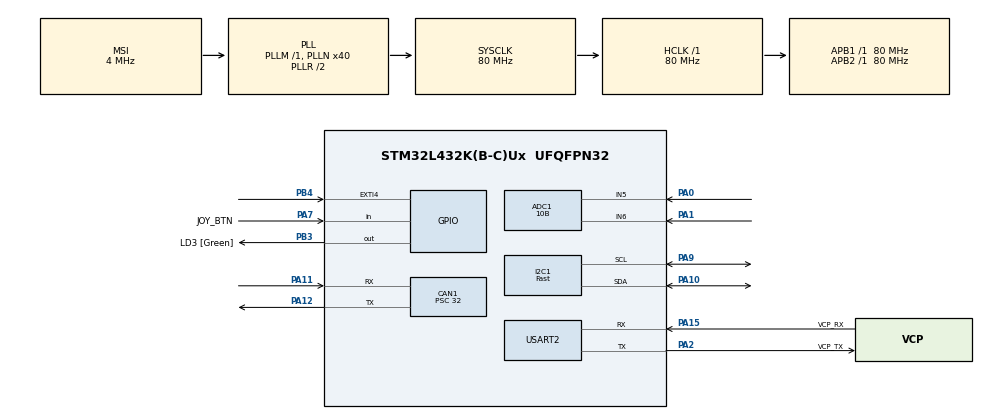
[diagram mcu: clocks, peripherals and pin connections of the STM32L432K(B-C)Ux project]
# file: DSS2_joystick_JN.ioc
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ADC1.ClockPrescaler=ADC_CLOCK_ASYNC_DIV8
ADC1.DiscontinuousConvMode=ENABLE
ADC1.EOCSelection=ADC_EOC_SEQ_CONV
ADC1.EnableInjectedConversion=ENABLE
ADC1.EnableRegularConversion=DISABLE
ADC1.InjMonitoredBy-2\#ChannelInjectedConversion=__NULL
ADC1.InjMonitoredBy-3\#ChannelInjectedConversion=__NULL
ADC1.InjNumberOfConversion=2
ADC1.InjectedChannel-2\#ChannelInjectedConversion=ADC_CHANNEL_5
ADC1.InjectedChannel-3\#ChannelInjectedConversion=ADC_CHANNEL_6
ADC1.InjectedOffsetNumber-2\#ChannelInjectedConversion=ADC_OFFSET_NONE
ADC1.InjectedOffsetNumber-3\#ChannelInjectedConversion=ADC_OFFSET_NONE
ADC1.InjectedRank-2\#ChannelInjectedConversion=1
ADC1.InjectedRank-3\#ChannelInjectedConversion=2
ADC1.InjectedSamplingTime-2\#ChannelInjectedConversion=ADC_SAMPLETIME_12CYCLES_5
ADC1.InjectedSamplingTime-3\#ChannelInjectedConversion=ADC_SAMPLETIME_12CYCLES_5
ADC1.Rank1_Channel=ADC_CHANNEL_5
ADC1.Rank2_Channel=ADC_CHANNEL_6
ADC1.Resolution=ADC_RESOLUTION_10B
ADC1.master=1
CAN1.BS1=CAN_BS1_4TQ
CAN1.BS2=CAN_BS2_5TQ
CAN1.CalculateBaudRate=250000
CAN1.CalculateTimeBit=4000
CAN1.CalculateTimeQuantum=400.0
CAN1.Prescaler=32
I2C1.I2C_Fall_Time=0
I2C1.I2C_Rise_Time=0
I2C1.I2C_Speed_Mode=I2C_Fast
I2C1.Timing=0x00702991
Mcu.Family=STM32L4
Mcu.Name=STM32L432K(B-C)Ux
Mcu.Package=UFQFPN32
NVIC.ADC1_IRQn=true\:3\:0\:true\:false\:true\:true\:true\:true
NVIC.CAN1_RX0_IRQn=true\:0\:0\:false\:false\:true\:true\:true\:true
NVIC.CAN1_TX_IRQn=true\:0\:0\:false\:false\:true\:true\:true\:true
NVIC.PriorityGroup=NVIC_PRIORITYGROUP_4
NVIC.TIM2_IRQn=true\:0\:0\:false\:false\:true\:true\:true\:true
PA0.Signal=ADCx_IN5
PA1.Signal=ADCx_IN6
PA10.Mode=I2C
PA10.Signal=I2C1_SDA
PA11.Mode=CAN_Activate
PA11.Signal=CAN1_RX
PA12.Mode=CAN_Activate
PA12.Signal=CAN1_TX
PA13\ (JTMS-SWDIO).GPIO_Label=SWDIO
PA13\ (JTMS-SWDIO).Mode=Serial_Wire
PA13\ (JTMS-SWDIO).Signal=SYS_JTMS-SWDIO
PA14\ (JTCK-SWCLK).GPIO_Label=SWCLK
PA14\ (JTCK-SWCLK).Mode=Serial_Wire
PA14\ (JTCK-SWCLK).Signal=SYS_JTCK-SWCLK
PA15\ (JTDI).GPIO_Label=VCP_RX
PA15\ (JTDI).Mode=Asynchronous
PA15\ (JTDI).Signal=USART2_RX
PA2.GPIO_Label=VCP_TX
PA2.Mode=Asynchronous
PA2.Signal=USART2_TX
PA7.GPIO_Label=JOY_BTN
PA7.GPIO_PuPd=GPIO_PULLDOWN
PA7.Signal=GPIO_Input
PA9.Mode=I2C
PA9.Signal=I2C1_SCL
PB3\ (JTDO-TRACESWO).GPIO_Label=LD3 [Green]
PB3\ (JTDO-TRACESWO).Signal=GPIO_Output
PB4\ (NJTRST).Signal=GPXTI4
PC14-OSC32_IN\ (PC14).Mode=LSE-External-Oscillator
PC14-OSC32_IN\ (PC14).Signal=RCC_OSC32_IN
PC15-OSC32_OUT\ (PC15).Mode=LSE-External-Oscillator
PC15-OSC32_OUT\ (PC15).Signal=RCC_OSC32_OUT
ProjectManager.HeapSize=0x200
ProjectManager.StackSize=0x400
ProjectManager.TargetToolchain=STM32CubeIDE
RCC.ADCFreq_Value=32000000
RCC.AHBFreq_Value=80000000
RCC.APB1Freq_Value=80000000
RCC.APB1TimFreq_Value=80000000
RCC.APB2Freq_Value=80000000
RCC.APB2TimFreq_Value=80000000
RCC.CortexFreq_Value=80000000
RCC.HCLKFreq_Value=80000000
RCC.HSE_VALUE=8000000
RCC.HSI16_VALUE=16000000
RCC.HSI48_VALUE=48000000
RCC.HSI_VALUE=16000000
RCC.MSI_VALUE=4000000
RCC.PLLMUL=RCC_PLLMUL_4
RCC.PLLN=40
RCC.PLLSAI1N=16
RCC.SYSCLKFreq_VALUE=80000000
RCC.SYSCLKSource=RCC_SYSCLKSOURCE_PLLCLK
RCC.USBFreq_Value=32000000
RCC.VCOOutputFreq_Value=160000000
SH.ADCx_IN5.0=ADC1_IN5,IN5-Single-Ended
SH.ADCx_IN6.0=ADC1_IN6,IN6-Single-Ended
TIM2.Period=999
TIM2.Prescaler=79
USART2.VirtualMode-Asynchronous=VM_ASYNC
VP_TIM2_VS_ClockSourceINT.Mode=Internal
board=NUCLEO-L432KC

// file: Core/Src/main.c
/* USER CODE BEGIN Header */
/**
  ******************************************************************************
  * @file           : main.c
  * @brief          : Main program body
  ******************************************************************************
  * @attention
  *
  * Copyright (c) 2026 STMicroelectronics.
  * All rights reserved.
  *
  * This software is licensed under terms that can be found in the LICENSE file
  * in the root directory of this software component.
  * If no LICENSE file comes with this software, it is provided AS-IS.
  *
  ******************************************************************************
  */
/* USER CODE END Header */
#include "main.h"

/* USER CODE BEGIN Includes */
#include "CO_app_STM32.h"
#include "OD.h"
#include <stdlib.h>
#include "xf.h"
#include "joystate.h"
#include "nunstate.h"
#include "flash.h"
/* USER CODE END Includes */

/* USER CODE BEGIN PD */
#define MIN 88
#define MAX 900
#define STANDH 200
#define STANDL 100
#define THRESHOLD 2
#define NUNCKADD 0x52
/* USER CODE END PD */

ADC_HandleTypeDef hadc1;

CAN_HandleTypeDef hcan1;

I2C_HandleTypeDef hi2c1;

TIM_HandleTypeDef htim2;

UART_HandleTypeDef huart2;

void SystemClock_Config(void);
static void MX_GPIO_Init(void);
static void MX_USART2_UART_Init(void);
static void MX_ADC1_Init(void);
static void MX_CAN1_Init(void);
static void MX_I2C1_Init(void);
static void MX_TIM2_Init(void);
/* USER CODE BEGIN PFP */
static OD_extension_t my_extensionJoystick;
/* USER CODE END PFP */

/* USER CODE BEGIN 0 */
//custom flash store input data from dictionnary
static ODR_t storeCallback(OD_stream_t *stream, const void *buf,OD_size_t count, OD_size_t *countWritten)
{
	if (stream->subIndex == 4)
	{
		if (strncmp(buf,"save",4)== 0)
		{
			FlashErase(1);									//erase flash
			FlashWrite(0,0x1234567812345678);				//signature
			FlashWrite(8, OD_PERSIST_COMM.x2001_threshold); //save parameters values
			FlashWrite(16, OD_PERSIST_COMM.x2002_limits[1]);
			FlashWrite(24, OD_PERSIST_COMM.x2002_limits[2]);
		}
	}
}

//initialize callback for our custom data from dictionnary
void mapCallbacks(OD_t *od)
{
	/* Find the OD entry for Index 0x2020 */
	OD_entry_t *entry = OD_find(od, 0x1010); // Find the OD entry for joystick value
	if (entry != NULL)
	{
		// Assign the custom write function (set read to NULL if not needed)
		my_extensionJoystick.read = NULL;
		my_extensionJoystick.write = storeCallback;
		my_extensionJoystick.object = NULL; // Can be used to store private data
		// Register the extension to the OD entry
		OD_extension_init(entry, &my_extensionJoystick);
		}
}

uint16_t x_axis, y_axis, needSend, pinstate;
int16_t x_axis_conv, y_axis_conv;
//get limits from dictionnary to use in code for universal use
//lim_max = OD_PERSIST_COMM.x2002_limits[1];
//lim_min = OD_PERSIST_COMM.x2002_limits[2];
void HAL_ADCEx_InjectedConvCpltCallback(ADC_HandleTypeDef *hadc)
{

	needSend = 0;
	//conversions
	x_axis = HAL_ADCEx_InjectedGetValue(hadc, ADC_INJECTED_RANK_1);
	x_axis_conv = ((x_axis - MIN)* STANDH /(MAX-MIN))-STANDL;
	y_axis = HAL_ADCEx_InjectedGetValue(hadc, ADC_INJECTED_RANK_2);
	y_axis_conv = ((y_axis - MIN)* STANDH /(MAX-MIN))-STANDL;

	//if the absolute value of the difference btwn old value and new value is greater than 5, send new value in dictionnary
	if(abs(x_axis_conv - OD_RAM.x2000_joystick[0])>THRESHOLD )
	{
		needSend = 1;
		OD_RAM.x2000_joystick[0] = x_axis_conv;
	}
	if(abs(y_axis_conv - OD_RAM.x2000_joystick[1])>THRESHOLD )
	{
		needSend = 1;
		OD_RAM.x2000_joystick[1] = y_axis_conv;
	}

	pinstate = HAL_GPIO_ReadPin(JOY_BTN_GPIO_Port, JOY_BTN_Pin);
	if(HAL_GPIO_ReadPin(JOY_BTN_GPIO_Port, JOY_BTN_Pin) != OD_RAM.x2000_joystick[2])
	{
		needSend = 1;
		OD_RAM.x2000_joystick[2] = HAL_GPIO_ReadPin(JOY_BTN_GPIO_Port, JOY_BTN_Pin);
	}

	if (needSend == 1)
	{
		needSend = 0;
		XF_post(processJoystick, E_CHANGED, 0);
	}

}

CANopenNodeSTM32 canOpenNodeSTM32;
void HAL_TIM_PeriodElapsedCallback(TIM_HandleTypeDef *htim)
{
	static uint8_t count=0;
	canopen_app_interrupt();			//send pulse every second
	count++;
	if(count == 20)
	{
		count = 0;
		HAL_ADCEx_InjectedStart_IT(&hadc1);
	}
}

//I2C

/* USER CODE END 0 */

int main(void)
{

  /* USER CODE BEGIN 1 */
	//read data entered from flash
	if(FlashRead(0)==0x1234567812345678)
	{
		OD_PERSIST_COMM.x2002_limits[1] = FlashRead(16);
		OD_PERSIST_COMM.x2002_limits[2] = FlashRead(24);
	}
  /* USER CODE END 1 */

  /* MCU Configuration--------------------------------------------------------*/

  /* Reset of all peripherals, Initializes the Flash interface and the Systick. */
  HAL_Init();

  /* Configure the system clock */
  SystemClock_Config();

  /* Initialize all configured peripherals */
  MX_GPIO_Init();
  MX_USART2_UART_Init();
  MX_ADC1_Init();
  MX_CAN1_Init();
  MX_I2C1_Init();
  MX_TIM2_Init();
  /* USER CODE BEGIN 2 */
  HAL_TIM_Base_Start_IT(&htim2);
  HAL_ADCEx_InjectedStart_IT(&hadc1);
  mapCallbacks(OD);
  // 1. Map the CANopen instance to your hardware (hcan1 is usually defined by CubeMX)
  canOpenNodeSTM32.CANHandle = &hcan1;
  // 2. Set your hardware initialization function (defined in can.c)
  canOpenNodeSTM32.HWInitFunction = MX_CAN1_Init;
  // 3. Map the timer used for CANopen heartbeat and fast tasks (e.g., TIM2)
  canOpenNodeSTM32.timerHandle = &htim2;
  // 4. Configure Node‐ID (1‐127) and Baudrate (e.g., 125, 250, 500, 1000)
  canOpenNodeSTM32.desiredNodeID = 8;
  canOpenNodeSTM32.baudrate = 250;
  // 5. Initialize the application
  canopen_app_init(&canOpenNodeSTM32);
  if(OD_PERSIST_COMM.x2003_joy_mode == 1)
  {
	  XF_post(processJoystick, E_IDLE, 0);
  }

  /* USER CODE END 2 */

  /* Infinite loop */
  /* USER CODE BEGIN WHILE */
  while (1)
  {
	  canopen_app_process();
	  XF_executeOnce();

    /* USER CODE END WHILE */

  }
}

void SystemClock_Config(void)
{
  RCC_OscInitTypeDef RCC_OscInitStruct = {0};
  RCC_ClkInitTypeDef RCC_ClkInitStruct = {0};

  /** Configure the main internal regulator output voltage
  */
  if (HAL_PWREx_ControlVoltageScaling(PWR_REGULATOR_VOLTAGE_SCALE1) != HAL_OK)
  {
    Error_Handler();
  }

  /** Configure LSE Drive Capability
  */
  HAL_PWR_EnableBkUpAccess();
  __HAL_RCC_LSEDRIVE_CONFIG(RCC_LSEDRIVE_LOW);

  /** Initializes the RCC Oscillators according to the specified parameters
  * in the RCC_OscInitTypeDef structure.
  */
  RCC_OscInitStruct.OscillatorType = RCC_OSCILLATORTYPE_LSE|RCC_OSCILLATORTYPE_MSI;
  RCC_OscInitStruct.LSEState = RCC_LSE_ON;
  RCC_OscInitStruct.MSIState = RCC_MSI_ON;
  RCC_OscInitStruct.MSICalibrationValue = 0;
  RCC_OscInitStruct.MSIClockRange = RCC_MSIRANGE_6;
  RCC_OscInitStruct.PLL.PLLState = RCC_PLL_ON;
  RCC_OscInitStruct.PLL.PLLSource = RCC_PLLSOURCE_MSI;
  RCC_OscInitStruct.PLL.PLLM = 1;
  RCC_OscInitStruct.PLL.PLLN = 40;
  RCC_OscInitStruct.PLL.PLLP = RCC_PLLP_DIV7;
  RCC_OscInitStruct.PLL.PLLQ = RCC_PLLQ_DIV2;
  RCC_OscInitStruct.PLL.PLLR = RCC_PLLR_DIV2;
  if (HAL_RCC_OscConfig(&RCC_OscInitStruct) != HAL_OK)
  {
    Error_Handler();
  }

  /** Initializes the CPU, AHB and APB buses clocks
  */
  RCC_ClkInitStruct.ClockType = RCC_CLOCKTYPE_HCLK|RCC_CLOCKTYPE_SYSCLK
                              |RCC_CLOCKTYPE_PCLK1|RCC_CLOCKTYPE_PCLK2;
  RCC_ClkInitStruct.SYSCLKSource = RCC_SYSCLKSOURCE_PLLCLK;
  RCC_ClkInitStruct.AHBCLKDivider = RCC_SYSCLK_DIV1;
  RCC_ClkInitStruct.APB1CLKDivider = RCC_HCLK_DIV1;
  RCC_ClkInitStruct.APB2CLKDivider = RCC_HCLK_DIV1;

  if (HAL_RCC_ClockConfig(&RCC_ClkInitStruct, FLASH_LATENCY_4) != HAL_OK)
  {
    Error_Handler();
  }

  /** Enable MSI Auto calibration
  */
  HAL_RCCEx_EnableMSIPLLMode();
}

static void MX_ADC1_Init(void)
{

  ADC_InjectionConfTypeDef sConfigInjected = {0};

  /** Common config
  */
  hadc1.Instance = ADC1;
  hadc1.Init.ClockPrescaler = ADC_CLOCK_ASYNC_DIV8;
  hadc1.Init.Resolution = ADC_RESOLUTION_10B;
  hadc1.Init.DataAlign = ADC_DATAALIGN_RIGHT;
  hadc1.Init.ScanConvMode = ADC_SCAN_ENABLE;
  hadc1.Init.EOCSelection = ADC_EOC_SEQ_CONV;
  hadc1.Init.LowPowerAutoWait = DISABLE;
  hadc1.Init.ContinuousConvMode = DISABLE;
  hadc1.Init.NbrOfConversion = 1;
  hadc1.Init.DiscontinuousConvMode = ENABLE;
  hadc1.Init.NbrOfDiscConversion = 1;
  hadc1.Init.DMAContinuousRequests = DISABLE;
  hadc1.Init.Overrun = ADC_OVR_DATA_PRESERVED;
  hadc1.Init.OversamplingMode = DISABLE;
  if (HAL_ADC_Init(&hadc1) != HAL_OK)
  {
    Error_Handler();
  }

  /** Disable Injected Queue
  */
  HAL_ADCEx_DisableInjectedQueue(&hadc1);

  /** Configure Injected Channel
  */
  sConfigInjected.InjectedChannel = ADC_CHANNEL_5;
  sConfigInjected.InjectedRank = ADC_INJECTED_RANK_1;
  sConfigInjected.InjectedSamplingTime = ADC_SAMPLETIME_12CYCLES_5;
  sConfigInjected.InjectedSingleDiff = ADC_SINGLE_ENDED;
  sConfigInjected.InjectedOffsetNumber = ADC_OFFSET_NONE;
  sConfigInjected.InjectedOffset = 0;
  sConfigInjected.InjectedNbrOfConversion = 2;
  sConfigInjected.InjectedDiscontinuousConvMode = DISABLE;
  sConfigInjected.AutoInjectedConv = DISABLE;
  sConfigInjected.QueueInjectedContext = DISABLE;
  sConfigInjected.ExternalTrigInjecConv = ADC_INJECTED_SOFTWARE_START;
  sConfigInjected.ExternalTrigInjecConvEdge = ADC_EXTERNALTRIGINJECCONV_EDGE_NONE;
  sConfigInjected.InjecOversamplingMode = DISABLE;
  if (HAL_ADCEx_InjectedConfigChannel(&hadc1, &sConfigInjected) != HAL_OK)
  {
    Error_Handler();
  }

  /** Configure Injected Channel
  */
  sConfigInjected.InjectedChannel = ADC_CHANNEL_6;
  sConfigInjected.InjectedRank = ADC_INJECTED_RANK_2;
  if (HAL_ADCEx_InjectedConfigChannel(&hadc1, &sConfigInjected) != HAL_OK)
  {
    Error_Handler();
  }

}

static void MX_CAN1_Init(void)
{

  hcan1.Instance = CAN1;
  hcan1.Init.Prescaler = 32;
  hcan1.Init.Mode = CAN_MODE_NORMAL;
  hcan1.Init.SyncJumpWidth = CAN_SJW_1TQ;
  hcan1.Init.TimeSeg1 = CAN_BS1_4TQ;
  hcan1.Init.TimeSeg2 = CAN_BS2_5TQ;
  hcan1.Init.TimeTriggeredMode = DISABLE;
  hcan1.Init.AutoBusOff = DISABLE;
  hcan1.Init.AutoWakeUp = DISABLE;
  hcan1.Init.AutoRetransmission = DISABLE;
  hcan1.Init.ReceiveFifoLocked = DISABLE;
  hcan1.Init.TransmitFifoPriority = DISABLE;
  if (HAL_CAN_Init(&hcan1) != HAL_OK)
  {
    Error_Handler();
  }

}

static void MX_I2C1_Init(void)
{

  hi2c1.Instance = I2C1;
  hi2c1.Init.Timing = 0x00702991;
  hi2c1.Init.OwnAddress1 = 0;
  hi2c1.Init.AddressingMode = I2C_ADDRESSINGMODE_7BIT;
  hi2c1.Init.DualAddressMode = I2C_DUALADDRESS_DISABLE;
  hi2c1.Init.OwnAddress2 = 0;
  hi2c1.Init.OwnAddress2Masks = I2C_OA2_NOMASK;
  hi2c1.Init.GeneralCallMode = I2C_GENERALCALL_DISABLE;
  hi2c1.Init.NoStretchMode = I2C_NOSTRETCH_DISABLE;
  if (HAL_I2C_Init(&hi2c1) != HAL_OK)
  {
    Error_Handler();
  }

  /** Configure Analogue filter
  */
  if (HAL_I2CEx_ConfigAnalogFilter(&hi2c1, I2C_ANALOGFILTER_ENABLE) != HAL_OK)
  {
    Error_Handler();
  }

  /** Configure Digital filter
  */
  if (HAL_I2CEx_ConfigDigitalFilter(&hi2c1, 0) != HAL_OK)
  {
    Error_Handler();
  }

}

static void MX_TIM2_Init(void)
{

  TIM_ClockConfigTypeDef sClockSourceConfig = {0};
  TIM_MasterConfigTypeDef sMasterConfig = {0};

  htim2.Instance = TIM2;
  htim2.Init.Prescaler = 79;
  htim2.Init.CounterMode = TIM_COUNTERMODE_UP;
  htim2.Init.Period = 999;
  htim2.Init.ClockDivision = TIM_CLOCKDIVISION_DIV1;
  htim2.Init.AutoReloadPreload = TIM_AUTORELOAD_PRELOAD_DISABLE;
  if (HAL_TIM_Base_Init(&htim2) != HAL_OK)
  {
    Error_Handler();
  }
  sClockSourceConfig.ClockSource = TIM_CLOCKSOURCE_INTERNAL;
  if (HAL_TIM_ConfigClockSource(&htim2, &sClockSourceConfig) != HAL_OK)
  {
    Error_Handler();
  }
  sMasterConfig.MasterOutputTrigger = TIM_TRGO_RESET;
  sMasterConfig.MasterSlaveMode = TIM_MASTERSLAVEMODE_DISABLE;
  if (HAL_TIMEx_MasterConfigSynchronization(&htim2, &sMasterConfig) != HAL_OK)
  {
    Error_Handler();
  }

}

static void MX_USART2_UART_Init(void)
{

  huart2.Instance = USART2;
  huart2.Init.BaudRate = 115200;
  huart2.Init.WordLength = UART_WORDLENGTH_8B;
  huart2.Init.StopBits = UART_STOPBITS_1;
  huart2.Init.Parity = UART_PARITY_NONE;
  huart2.Init.Mode = UART_MODE_TX_RX;
  huart2.Init.HwFlowCtl = UART_HWCONTROL_NONE;
  huart2.Init.OverSampling = UART_OVERSAMPLING_16;
  huart2.Init.OneBitSampling = UART_ONE_BIT_SAMPLE_DISABLE;
  huart2.AdvancedInit.AdvFeatureInit = UART_ADVFEATURE_NO_INIT;
  if (HAL_UART_Init(&huart2) != HAL_OK)
  {
    Error_Handler();
  }

}

static void MX_GPIO_Init(void)
{
  GPIO_InitTypeDef GPIO_InitStruct = {0};

  /* GPIO Ports Clock Enable */
  __HAL_RCC_GPIOC_CLK_ENABLE();
  __HAL_RCC_GPIOA_CLK_ENABLE();
  __HAL_RCC_GPIOB_CLK_ENABLE();

  /*Configure GPIO pin Output Level */
  HAL_GPIO_WritePin(LD3_GPIO_Port, LD3_Pin, GPIO_PIN_RESET);

  /*Configure GPIO pin : JOY_BTN_Pin */
  GPIO_InitStruct.Pin = JOY_BTN_Pin;
  GPIO_InitStruct.Mode = GPIO_MODE_INPUT;
  GPIO_InitStruct.Pull = GPIO_PULLDOWN;
  HAL_GPIO_Init(JOY_BTN_GPIO_Port, &GPIO_InitStruct);

  /*Configure GPIO pin : LD3_Pin */
  GPIO_InitStruct.Pin = LD3_Pin;
  GPIO_InitStruct.Mode = GPIO_MODE_OUTPUT_PP;
  GPIO_InitStruct.Pull = GPIO_NOPULL;
  GPIO_InitStruct.Speed = GPIO_SPEED_FREQ_LOW;
  HAL_GPIO_Init(LD3_GPIO_Port, &GPIO_InitStruct);

  /*Configure GPIO pin : PB4 */
  GPIO_InitStruct.Pin = GPIO_PIN_4;
  GPIO_InitStruct.Mode = GPIO_MODE_IT_RISING;
  GPIO_InitStruct.Pull = GPIO_NOPULL;
  HAL_GPIO_Init(GPIOB, &GPIO_InitStruct);

}

void Error_Handler(void)
{
  __disable_irq();
  while (1)
  {
  }
}
